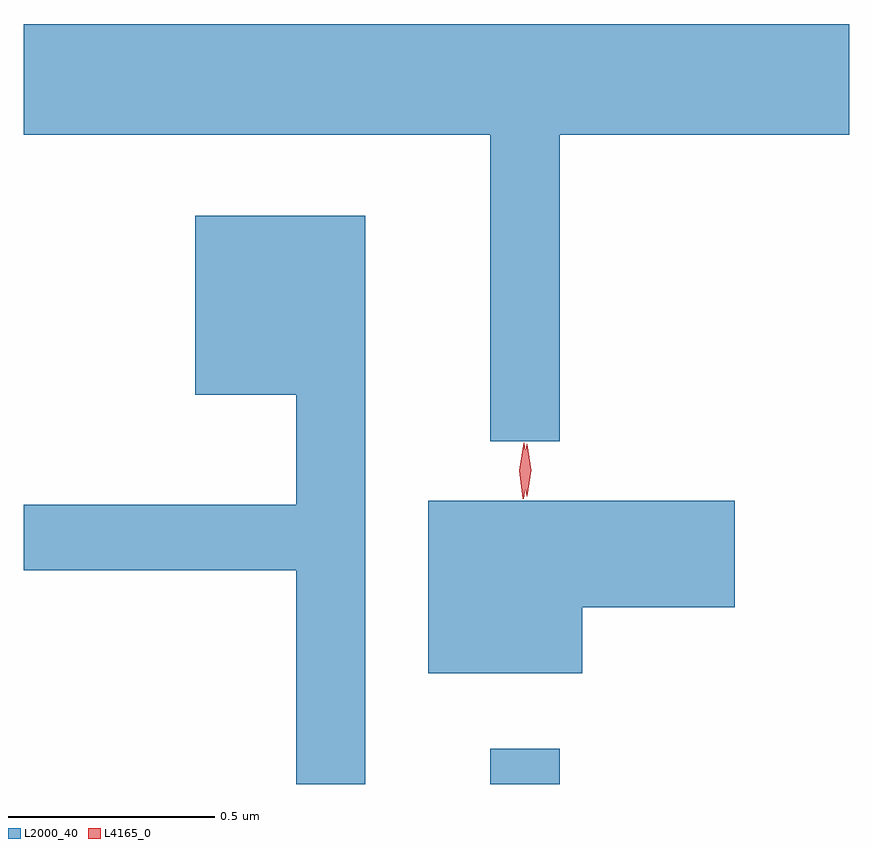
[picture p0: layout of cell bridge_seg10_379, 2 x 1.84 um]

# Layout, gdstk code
import gdstk
lib = gdstk.Library(unit=1e-6, precision=1e-09)
def R(c, l, rs):  # rectangles x0, y0, x1, y1
    for r in rs: c.add(gdstk.rectangle(r[:2], r[2:], *l))
def P(c, l, *ps):  # polygons
    for p in ps: c.add(gdstk.Polygon(p, *l))
L2000_40 = (2000, 40)
L4165_0 = (4165, 0)

bridge_seg10_379 = lib.new_cell('bridge_seg10_379')
R(bridge_seg10_379, L2000_40, [(1205.391,2170.063,1205.559,2170.148)])
P(bridge_seg10_379, L2000_40, [(1205.559,2171.636),(1206.261,2171.636),(1206.261,2171.904),(1204.261,2171.904),(1204.261,2171.636),(1205.391,2171.636),(1205.391,2170.893),(1205.559,2170.893)],
  [(1205.089,2171.439),(1204.676,2171.439),(1204.676,2171.006),(1204.921,2171.006),(1204.921,2170.739),(1204.261,2170.739),(1204.261,2170.581),(1204.921,2170.581),(1204.921,2170.063),(1205.089,2170.063)],
  [(1205.614,2170.491),(1205.984,2170.491),(1205.984,2170.749),(1205.241,2170.749),(1205.241,2170.331),(1205.614,2170.331)])
P(bridge_seg10_379, L4165_0, [(1205.47,2170.754),(1205.462,2170.822),(1205.472,2170.89),(1205.472,2170.89),(1205.473,2170.89),(1205.482,2170.822),(1205.472,2170.754),(1205.471,2170.754)],
  [(1205.48,2170.76),(1205.47,2170.823),(1205.48,2170.886),(1205.48,2170.887),(1205.481,2170.886),(1205.49,2170.823),(1205.481,2170.76),(1205.481,2170.76)])

lib.write_gds('bridge_seg10_379.gds')
